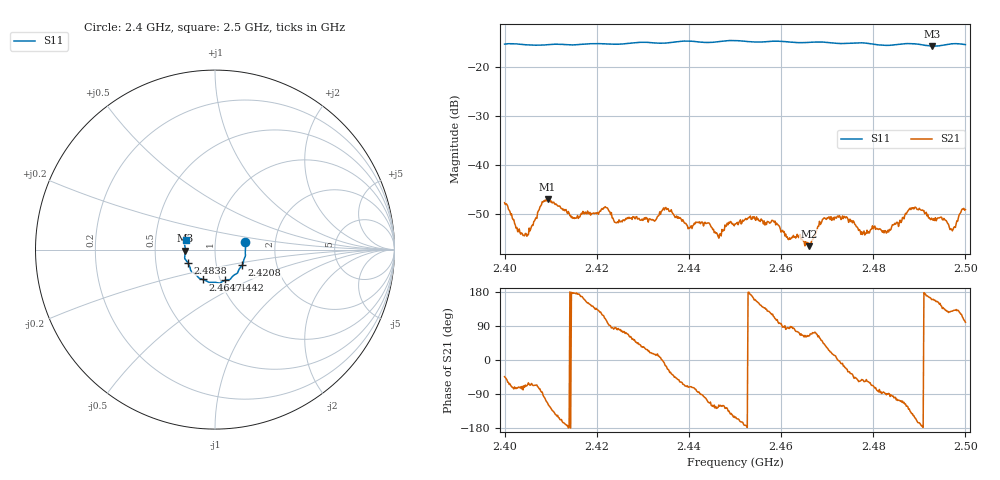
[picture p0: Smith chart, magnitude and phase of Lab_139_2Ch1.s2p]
# Hz S RI R 50
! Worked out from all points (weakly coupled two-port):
!   601 points, 2.4 GHz to 2.5 GHz, reference 50 ohm
!   highest |S21| = -46.94 dB at 2.4093 GHz (marker M1); lowest = -56.5 dB at 2.466 GHz (marker M2)
!   lowest |S11| = -15.6 dB at 2.4928 GHz (marker M3), VSWR 1.40, Z = 35.8 - j0.374 ohm
!   |S11| at or under -10 dB: start of sweep to end of sweep
!   S12 and S22 are empty: the file has one direction only
!   S11 on the Smith chart (normalised r, x): 2.4 GHz: 1.40, +0.12; 2.4208 GHz: 1.33, -0.24; 2.4442 GHz: 1.05, -0.37; 2.4647 GHz: 0.83, -0.29; 2.4838 GHz: 0.73, -0.11; 2.5 GHz: 0.72, +0.08
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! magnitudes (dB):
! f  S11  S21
! 2.4 GHz  -15.2  -47.7
! 2.4045 GHz  -15.4  -53.9
! 2.4093 GHz  -15.3  -46.9
! 2.4167 GHz  -15.3  -49.8
! 2.4208 GHz  -15.1  -49.4
! 2.4242 GHz  -15.2  -51.7
! 2.4333 GHz  -15.0  -50.4
! 2.435 GHz  -15.0  -48.6
! 2.4442 GHz  -14.9  -51.8
! 2.4465 GHz  -14.7  -54.9
! 2.45 GHz  -14.5  -52.0
! 2.4582 GHz  -14.6  -51.3
! 2.4647 GHz  -14.9  -55.3
! 2.466 GHz  -14.9  -56.5
! 2.4667 GHz  -14.8  -55.4
! 2.4698 GHz  -14.9  -51.1
! 2.4833 GHz  -15.5  -53.6
! 2.4838 GHz  -15.4  -53.1
! 2.4888 GHz  -15.2  -48.9
! 2.4928 GHz  -15.6  -51.1
! 2.4972 GHz  -15.2  -53.4
! 2.5 GHz  -15.3  -49.1
